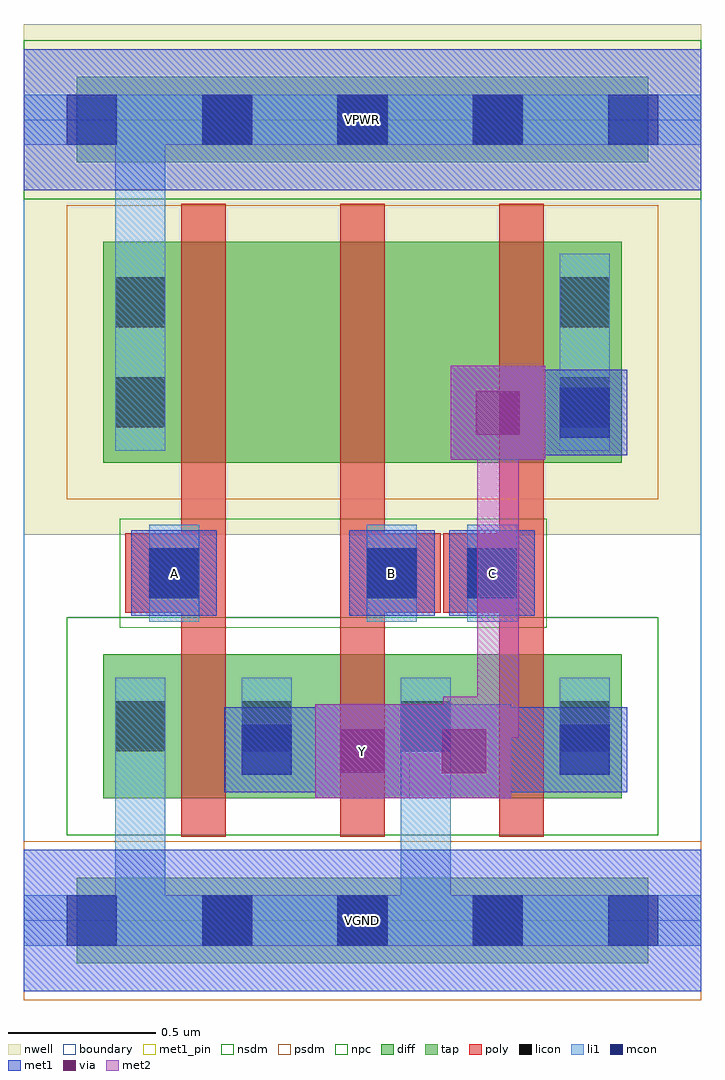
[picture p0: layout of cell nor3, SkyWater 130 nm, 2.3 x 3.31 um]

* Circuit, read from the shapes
.subckt nor3 A B C VGND VPWR Y
XM1 Y A VGND VGND sky130_fd_pr__nfet_01v8 w=0.49 l=0.15
XM2 VGND B Y VGND sky130_fd_pr__nfet_01v8 w=0.49 l=0.15
XM3 Y C VGND VGND sky130_fd_pr__nfet_01v8 w=0.49 l=0.15
XM4 n1 A VPWR VPWR sky130_fd_pr__pfet_01v8 w=0.75 l=0.15
XM5 n2 B n1 VPWR sky130_fd_pr__pfet_01v8 w=0.75 l=0.15
XM6 Y C n2 VPWR sky130_fd_pr__pfet_01v8 w=0.75 l=0.15
.ends

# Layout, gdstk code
import gdstk
lib = gdstk.Library(unit=1e-6, precision=1e-09)
def R(c, l, rs):  # rectangles x0, y0, x1, y1
    for r in rs: c.add(gdstk.rectangle(r[:2], r[2:], *l))
def A(c, l, x, y, w, h, nx, ny, dx, dy):  # array of equal rectangles
    R(c, l, [(x+i*dx, y+j*dy, x+i*dx+w, y+j*dy+h) for i in range(nx) for j in range(ny)])
nwell = (64, 20)
diff = (65, 20)
tap = (65, 44)
poly = (66, 20)
licon = (66, 44)
li1 = (67, 20)
mcon = (67, 44)
met1_pin = (68, 16)
met1 = (68, 20)
via = (68, 44)
met2 = (69, 20)
nsdm = (93, 44)
psdm = (94, 20)
npc = (95, 20)
boundary = (235, 4)

nor3 = lib.new_cell('nor3')
R(nor3, nwell, [(0,1.31,2.3,3.045)])
R(nor3, diff, [(0.27,0.415,2.03,0.905), (0.27,1.555,2.03,2.305)])
R(nor3, tap, [(0.18,-0.145,2.12,0.145), (0.18,2.575,2.12,2.865)])
A(nor3, poly, 0.535, 0.285, 0.15, 2.15, 3, 1, 0.54, 0)
R(nor3, poly, [(0.345,1.045,0.675,1.315), (1.085,1.045,1.415,1.315), (1.425,1.045,1.755,1.315)])
A(nor3, licon, 0.605, -0.085, 0.17, 0.17, 3, 2, 0.46, 2.72)
A(nor3, licon, 0.74, 0.575, 0.17, 0.17, 3, 1, 0.54, 0)
R(nor3, licon, [(0.31,0.575,0.48,0.745), (0.425,1.095,0.595,1.265), (1.165,1.095,1.335,1.265), (1.505,1.095,1.675,1.265), (0.31,1.675,0.48,1.845), (1.82,1.675,1.99,1.845), (0.31,2.015,0.48,2.185), (1.82,2.015,1.99,2.185)])
A(nor3, li1, 0.74, 0.495, 0.17, 0.33, 3, 1, 0.54, 0)
R(nor3, li1, [(0,-0.085,2.3,0.085), (0.31,-0.085,0.48,0.825), (1.28,-0.085,1.45,0.825), (0.31,0.495,0.48,0.825), (0.425,1.015,0.595,1.345), (1.165,1.015,1.335,1.345), (1.505,1.015,1.675,1.345), (0.31,1.595,0.48,2.265), (0.31,1.595,0.48,2.805), (1.82,1.595,1.99,2.265), (0,2.635,2.3,2.805)])
A(nor3, mcon, 0.145, -0.085, 0.17, 0.17, 5, 2, 0.46, 2.72)
R(nor3, mcon, [(0.74,0.495,0.91,0.665), (1.82,0.495,1.99,0.665), (0.425,1.095,0.595,1.265), (1.165,1.095,1.335,1.265), (1.505,1.095,1.675,1.265), (1.82,1.64,1.99,1.81)])
R(nor3, met1_pin, [(0,-0.24,2.3,0.24), (0.99,0.415,1.31,0.735), (0.365,1.035,0.655,1.325), (1.105,1.035,1.395,1.325), (1.445,1.035,1.735,1.325), (0,2.48,2.3,2.96)])
R(nor3, met1, [(0,-0.24,2.3,0.24), (0.99,0.415,1.31,0.735), (1.31,0.415,1.335,0.735), (1.335,0.415,1.655,0.735), (0.68,0.435,0.97,0.725), (0.97,0.435,0.99,0.725), (1.655,0.435,1.76,0.725), (1.76,0.435,2.05,0.725), (0.85,0.505,0.99,0.65), (0.85,0.505,1.22,0.645), (1.22,0.505,1.335,0.645), (1.31,0.505,1.425,0.645), (1.425,0.505,1.795,0.645), (1.655,0.505,1.795,0.65), (0.755,0.51,0.99,0.65), (1.655,0.51,1.975,0.65), (0.365,1.035,0.655,1.325), (1.105,1.035,1.395,1.325), (1.445,1.035,1.735,1.325), (1.45,1.565,1.77,1.885), (1.76,1.58,2.05,1.87), (1.54,1.655,1.795,1.795), (1.655,1.655,1.975,1.795), (0,2.48,2.3,2.96)])
R(nor3, via, [(1.075,0.5,1.225,0.65), (1.42,0.5,1.57,0.65), (1.535,1.65,1.685,1.8)])
R(nor3, met2, [(0.99,0.415,1.31,0.735), (1.31,0.415,1.335,0.735), (1.335,0.415,1.655,0.735), (1.08,0.505,1.565,0.645), (1.31,0.505,1.425,0.735), (1.425,0.505,1.565,0.76), (1.31,0.62,1.425,0.735), (1.425,0.62,1.68,0.76), (1.54,0.62,1.68,1.795), (1.45,1.565,1.77,1.885)])
R(nor3, nsdm, [(0.145,0.29,2.155,1.03), (0,2.45,2.3,2.99)])
R(nor3, psdm, [(0,-0.27,2.3,0.27), (0.145,1.43,2.155,2.43)])
R(nor3, npc, [(0.325,0.995,1.775,1.365)])
R(nor3, boundary, [(0,0,2.3,2.72)])
nor3.add(gdstk.Label('A', (0.51,1.18), layer=68, texttype=5))
nor3.add(gdstk.Label('B', (1.25,1.18), layer=68, texttype=5))
nor3.add(gdstk.Label('C', (1.59,1.18), layer=68, texttype=5))
nor3.add(gdstk.Label('Y', (1.15,0.575), layer=68, texttype=5))
nor3.add(gdstk.Label('VPWR', (1.15,2.72), layer=68, texttype=5))
nor3.add(gdstk.Label('VGND', (1.15,0), layer=68, texttype=5))
nor3.add(gdstk.Label('A', (0.51,1.18), layer=68, texttype=16))
nor3.add(gdstk.Label('B', (1.25,1.18), layer=68, texttype=16))
nor3.add(gdstk.Label('C', (1.59,1.18), layer=68, texttype=16))
nor3.add(gdstk.Label('Y', (1.15,0.575), layer=68, texttype=16))
nor3.add(gdstk.Label('VPWR', (1.15,2.72), layer=68, texttype=16))
nor3.add(gdstk.Label('VGND', (1.15,0), layer=68, texttype=16))

lib.write_gds('nor3.gds')
